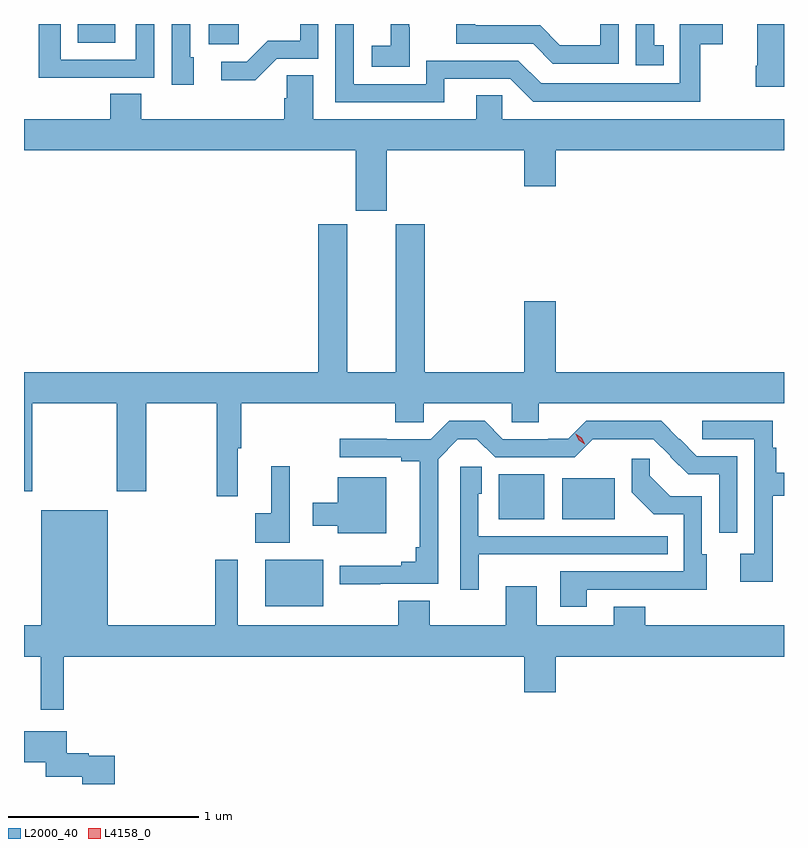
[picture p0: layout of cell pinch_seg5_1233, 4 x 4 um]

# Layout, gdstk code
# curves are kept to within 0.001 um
import gdstk
lib = gdstk.Library(unit=1e-6, precision=1e-09)
def R(c, l, rs):  # rectangles x0, y0, x1, y1
    for r in rs: c.add(gdstk.rectangle(r[:2], r[2:], *l))
def P(c, l, *ps):  # polygons
    for p in ps: c.add(gdstk.Polygon(p, *l))
L2000_40 = (2000, 40)
L4158_0 = (4158, 0)

pinch_seg5_1233 = lib.new_cell('pinch_seg5_1233')
R(pinch_seg5_1233, L2000_40, [(403.403,870.344,403.708,870.589), (404.633,870.803,404.872,871.039), (404.966,870.803,405.244,871.018), (403.106,873.302,403.263,873.409), (402.416,873.311,402.613,873.409)])
P(pinch_seg5_1233, L2000_40, [(404.347,873.12),(404.694,873.12),(404.814,873),(405.694,873),(405.694,873.303),(405.812,873.303),(405.812,873.409),(405.585,873.409),(405.585,873.096),(404.856,873.096),(404.736,873.216),(404.25,873.216),(404.25,873.093),(403.869,873.093),(403.869,873.409),(403.773,873.409),(403.773,872.997),(404.347,872.997)],
  [(405.264,873.409),(405.168,873.409),(405.168,873.298),(404.954,873.298),(404.85,873.402),(404.508,873.402),(404.508,873.409),(404.41,873.409),(404.41,873.306),(404.813,873.306),(404.918,873.201),(405.264,873.201)],
  [(406.134,873.409),(405.992,873.409),(405.992,873.19),(405.985,873.19),(405.985,873.078),(406.134,873.078)],
  [(405.5,873.297),(405.451,873.297),(405.451,873.409),(405.354,873.409),(405.354,873.192),(405.5,873.192)],
  [(403.464,873.225),(403.683,873.225),(403.683,873.409),(403.587,873.409),(403.587,873.321),(403.418,873.321),(403.307,873.21),(403.173,873.21),(403.173,873.113),(403.351,873.113)],
  [(403.027,873.234),(403.008,873.234),(403.008,873.409),(402.912,873.409),(402.912,873.09),(403.027,873.09)],
  [(404.163,873.391),(404.162,873.391),(404.162,873.409),(404.063,873.409),(404.063,873.295),(403.965,873.295),(403.965,873.185),(404.163,873.185)],
  [(402.503,873.126),(402.819,873.126),(402.819,873.409),(402.723,873.409),(402.723,873.222),(402.327,873.222),(402.327,873.409),(402.211,873.409),(402.211,873.125),(402.503,873.125)],
  [(404.044,872.744),(404.768,872.744),(404.768,872.556),(404.932,872.556),(404.932,872.744),(406.134,872.744),(406.134,872.908),(404.652,872.908),(404.652,873.035),(404.513,873.035),(404.513,872.908),(403.657,872.908),(403.657,873.14),(403.518,873.14),(403.518,873.017),(403.505,873.017),(403.505,872.908),(402.752,872.908),(402.752,873.041),(402.587,873.041),(402.587,872.908),(402.134,872.908),(402.134,872.744),(403.88,872.744),(403.88,872.427),(404.044,872.427)],
  [(404.087,871.314),(404.238,871.314),(404.238,871.412),(404.7,871.412),(404.7,871.314),(404.842,871.314),(404.842,871.412),(406.134,871.412),(406.134,871.576),(404.932,871.576),(404.932,871.951),(404.768,871.951),(404.768,871.576),(404.243,871.576),(404.243,872.355),(404.09,872.355),(404.09,871.576),(403.834,871.576),(403.834,872.355),(403.682,872.355),(403.682,871.576),(402.134,871.576),(402.134,870.951),(402.177,870.951),(402.177,871.412),(402.622,871.412),(402.622,870.951),(402.777,870.951),(402.777,871.412),(403.149,871.412),(403.149,870.924),(403.259,870.924),(403.259,871.176),(403.277,871.176),(403.277,871.412),(404.087,871.412)],
  [(406.075,870.925),(406.134,870.925),(406.134,871.046),(406.094,871.046),(406.094,871.178),(406.076,871.178),(406.076,871.32),(405.705,871.32),(405.705,871.224),(405.978,871.224),(405.978,870.622),(405.903,870.622),(405.903,870.474),(406.075,870.474)],
  [(404.009,870.462),(404.313,870.462),(404.313,871.119),(404.417,871.223),(404.518,871.223),(404.613,871.128),(405.033,871.128),(405.128,871.223),(405.447,871.224),(405.537,871.134),(405.535,871.132),(405.629,871.038),(405.792,871.038),(405.792,870.732),(405.888,870.732),(405.888,871.134),(405.675,871.134),(405.487,871.32),(405.093,871.32),(404.999,871.226),(404.894,871.226),(404.894,871.224),(404.655,871.224),(404.559,871.32),(404.372,871.32),(404.276,871.224),(404.043,871.224),(404.043,871.226),(403.797,871.226),(403.797,871.128),(404.12,871.128),(404.12,871.108),(404.216,871.108),(404.216,870.655),(404.197,870.655),(404.197,870.578),(404.12,870.578),(404.12,870.559),(403.797,870.559),(403.797,870.461)],
  [(405.097,870.432),(405.727,870.431),(405.727,870.618),(405.702,870.618),(405.702,870.924),(405.536,870.924),(405.428,871.032),(405.428,871.12),(405.333,871.12),(405.333,870.944),(405.449,870.828),(405.606,870.828),(405.606,870.528),(404.957,870.528),(404.957,870.342),(405.097,870.342)],
  [(403.533,871.081),(403.436,871.081),(403.436,870.833),(403.35,870.833),(403.35,870.68),(403.533,870.68)],
  [(404.527,870.617),(404.861,870.617),(404.861,870.618),(405.521,870.618),(405.521,870.714),(404.526,870.714),(404.526,870.936),(404.542,870.936),(404.542,871.079),(404.43,871.079),(404.43,870.432),(404.527,870.432)],
  [(404.041,871.024),(403.784,871.024),(403.784,870.889),(403.653,870.889),(403.653,870.767),(403.784,870.767),(403.784,870.728),(404.041,870.728)],
  [(402.343,870.08),(404.768,870.08),(404.768,869.892),(404.932,869.892),(404.932,870.08),(406.134,870.08),(406.134,870.244),(405.403,870.244),(405.403,870.343),(405.239,870.343),(405.239,870.244),(404.833,870.244),(404.833,870.451),(404.669,870.451),(404.669,870.244),(404.269,870.244),(404.269,870.373),(404.105,870.373),(404.105,870.244),(403.258,870.244),(403.258,870.589),(403.141,870.589),(403.141,870.244),(402.574,870.244),(402.574,870.85),(402.224,870.85),(402.224,870.244),(402.134,870.244),(402.134,870.08),(402.221,870.08),(402.221,869.799),(402.343,869.799)],
  [(402.611,869.557),(402.474,869.557),(402.474,869.57),(402.358,869.57),(402.358,869.686),(402.134,869.686),(402.134,869.523),(402.248,869.523),(402.248,869.447),(402.44,869.447),(402.44,869.409),(402.611,869.409)])
P(pinch_seg5_1233, L4158_0, [(405.086,871.197),(405.055,871.218),(405.039,871.252),(405.039,871.252),(405.039,871.252),(405.07,871.231),(405.086,871.198),(405.086,871.197)])

lib.write_gds('pinch_seg5_1233.gds')
